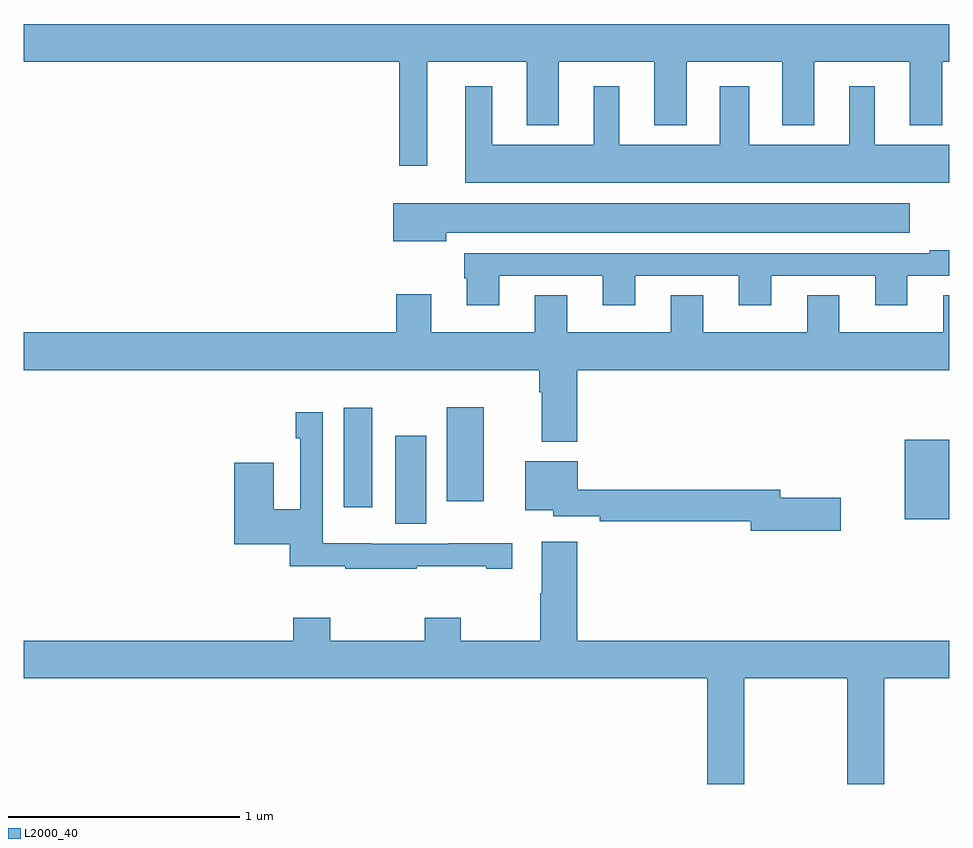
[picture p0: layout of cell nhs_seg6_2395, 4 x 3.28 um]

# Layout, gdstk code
import gdstk
lib = gdstk.Library(unit=1e-6, precision=1e-09)
def R(c, l, rs):  # rectangles x0, y0, x1, y1
    for r in rs: c.add(gdstk.rectangle(r[:2], r[2:], *l))
def P(c, l, *ps):  # polygons
    for p in ps: c.add(gdstk.Polygon(p, *l))
L2000_40 = (2000, 40)

nhs_seg6_2395 = lib.new_cell('nhs_seg6_2395')
R(nhs_seg6_2395, L2000_40, [(254.606,994.624,254.74,995.005), (256.808,994.643,257,994.987), (254.384,994.695,254.506,995.125), (254.828,994.722,254.989,995.128)])
P(nhs_seg6_2395, L2000_40, [(254.743,996.62),(255.173,996.62),(255.173,996.347),(255.313,996.347),(255.313,996.62),(255.725,996.62),(255.725,996.347),(255.865,996.347),(255.865,996.62),(256.277,996.62),(256.277,996.347),(256.417,996.347),(256.417,996.62),(256.829,996.62),(256.829,996.347),(256.969,996.347),(256.969,996.62),(257,996.62),(257,996.784),(253,996.784),(253,996.62),(254.622,996.62),(254.622,996.171),(254.743,996.171)],
  [(257,996.262),(256.678,996.262),(256.678,996.514),(256.568,996.514),(256.568,996.262),(256.135,996.262),(256.135,996.514),(256.007,996.514),(256.007,996.262),(255.574,996.262),(255.574,996.514),(255.464,996.514),(255.464,996.262),(255.025,996.262),(255.025,996.514),(254.909,996.514),(254.909,996.098),(257,996.098)],
  [(254.827,995.882),(256.828,995.882),(256.828,996.01),(254.598,996.01),(254.598,995.846),(254.827,995.846)],
  [(255.055,995.697),(255.503,995.697),(255.503,995.568),(255.643,995.568),(255.643,995.697),(256.091,995.697),(256.091,995.568),(256.231,995.568),(256.231,995.697),(256.679,995.697),(256.679,995.568),(256.819,995.568),(256.819,995.697),(257,995.697),(257,995.806),(256.915,995.806),(256.915,995.793),(254.903,995.793),(254.903,995.685),(254.915,995.685),(254.915,995.568),(255.055,995.568)],
  [(255.392,995.288),(257,995.288),(257,995.612),(256.973,995.612),(256.973,995.452),(256.525,995.452),(256.525,995.612),(256.385,995.612),(256.385,995.452),(255.937,995.452),(255.937,995.612),(255.797,995.612),(255.797,995.452),(255.349,995.452),(255.349,995.612),(255.209,995.612),(255.209,995.452),(254.761,995.452),(254.761,995.617),(254.609,995.617),(254.609,995.452),(253,995.452),(253,995.288),(255.227,995.288),(255.227,995.192),(255.239,995.192),(255.239,994.979),(255.392,994.979)],
  [(254.699,994.441),(254.999,994.441),(254.999,994.431),(255.112,994.431),(255.112,994.541),(254.836,994.541),(254.836,994.539),(254.502,994.539),(254.502,994.54),(254.292,994.54),(254.292,995.107),(254.176,995.107),(254.176,994.994),(254.196,994.994),(254.196,994.688),(254.08,994.688),(254.08,994.888),(253.91,994.888),(253.91,994.535),(254.15,994.535),(254.15,994.441),(254.389,994.441),(254.389,994.431),(254.699,994.431)],
  [(256.531,994.736),(256.27,994.736),(256.27,994.772),(255.394,994.772),(255.394,994.894),(255.167,994.894),(255.167,994.682),(255.288,994.682),(255.288,994.656),(255.49,994.656),(255.49,994.636),(256.142,994.636),(256.142,994.594),(256.531,994.594)],
  [(256.113,993.956),(256.558,993.956),(256.558,993.5),(256.718,993.5),(256.718,993.956),(257,993.956),(257,994.12),(255.392,994.12),(255.392,994.546),(255.239,994.546),(255.239,994.325),(255.232,994.325),(255.232,994.12),(254.889,994.12),(254.889,994.219),(254.734,994.219),(254.734,994.12),(254.325,994.12),(254.325,994.219),(254.165,994.219),(254.165,994.12),(253,994.12),(253,993.956),(255.953,993.956),(255.953,993.5),(256.113,993.5)])

lib.write_gds('nhs_seg6_2395.gds')
